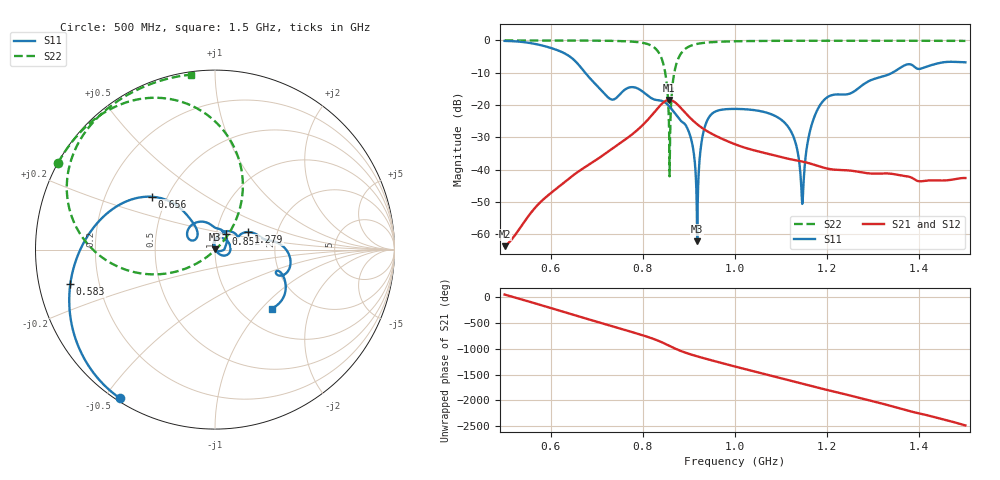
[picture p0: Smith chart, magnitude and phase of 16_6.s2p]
! TOUCHSTONE file generated by CST MICROWAVE STUDIO
! Date and time: Fri Oct  2 18:56:46 2020
! Project name: Scenario_1_Free_Space_out_of_line.cst
! Parameters = {Lambda=346.42; Step_1=17.321; dy1=87.525; dx1=1039; L_HA=400; MT=2.54; Rad_Dielectric=30; Rad_Lower=7.3; Rad_Upper=30; a_HA=580; a_WG=246; b_HA=500; b_WG=121; c_HA=0; c_WG=187; d_feed=85; h_feed=15; h_lower=18; h_upper=40}
! Header version: 2018
! Port assignment regex: !\s*Touchstone port\s*([0-9]+)\s*=\s*(CST MWS port|CST DS port)\s*([0-9]+|Zmin|Zmax)\s*\(\"(.*)\"\)(\s*mode\s*([0-9]+))?.*
! Touchstone port assignment:
! Touchstone port 1 = CST MWS port 1 ("")
! Touchstone port 2 = CST MWS port 2 ("")
# GHz S DB R 50
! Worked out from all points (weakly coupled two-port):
!   1003 points, 500 MHz to 1.5 GHz, reference 50 ohm
!   highest |S21| = -18.43 dB at 857 MHz (marker M1); lowest = -63.8 dB at 500 MHz (marker M2)
!   lowest |S11| = -62.2 dB at 918 MHz (marker M3), VSWR 1.00, Z = 50 + j0.0597 ohm
!   |S11| at or under -10 dB: 674.9 MHz to 1.342 GHz (666.6 MHz wide, 66.1 % of centre)
!   |S22| runs from -42.1 to 0.0 dB; largest |S21 - S12| = 9e-05
!   S11 on the Smith chart (normalised r, x): 500 MHz: 0.01, -0.55; 583 MHz: 0.09, -0.12; 656 MHz: 0.41, +0.31; 852 MHz: 1.11, +0.19; 1.279 GHz: 1.42, +0.29; 1.5 GHz: 1.37, -1.15
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0.5  -0.15 -122.5  -63.76 45.7  -63.76 45.7  -0.01 151.1
0.583  -1.63 -166.5  -49.41 -169.5  -49.40 -169.5  -0.02 145.4
0.656  -6.80 139.9  -41.04 -3.6  -41.04 -3.6  -0.04 139.4
0.667  -8.62 133.3  -39.96 -32.9  -39.96 -32.9  -0.04 138.3
0.73  -18.19 143.1  -33.90 163.7  -33.90 163.7  -0.13 130.7
0.834  -18.55 81.5  -20.73 -128.8  -20.73 -128.8  -3.65 85.2
0.852  -19.66 54.9  -18.57 158.7  -18.57 158.7  -13.62 55.1
0.857  -20.39 47.1  -18.43 137.0  -18.43 137.0  -27.66 42.7
0.877  -23.93 20.1  -20.11 54.9  -20.11 54.9  -5.58 -168.4
0.903  -29.66 -13.7  -24.04 -28.2  -24.04 -28.2  -1.71 166.7
0.918  -62.19 50.2  -25.98 -68.4  -25.98 -68.4  -1.07 158.9
0.929  -30.13 108.8  -27.16 -96.1  -27.16 -96.1  -0.81 154.8
0.941  -24.42 80.4  -28.25 -125.5  -28.25 -125.5  -0.63 151.2
1  -21.22 11.3  -32.17 94.9  -32.17 94.9  -0.26 140.2
1.11  -25.83 -39.0  -36.50 -154.8  -36.53 -154.7  -0.12 128.8
1.131  -31.54 -48.6  -37.12 157.6  -37.13 157.7  -0.11 127.0
1.146  -50.66 18.7  -37.54 123.0  -37.54 123.0  -0.10 125.8
1.167  -25.86 89.5  -38.31 74.4  -38.31 74.3  -0.10 124.2
1.198  -17.84 53.3  -39.64 6.6  -39.64 6.6  -0.09 121.7
1.279  -13.60 27.9  -40.98 -172.3  -40.98 -172.3  -0.08 115.6
1.334  -10.51 10.2  -41.25 63.2  -41.25 63.2  -0.09 111.4
1.5  -6.77 -46.1  -42.64 36.3  -42.63 36.4  -0.14 97.8
